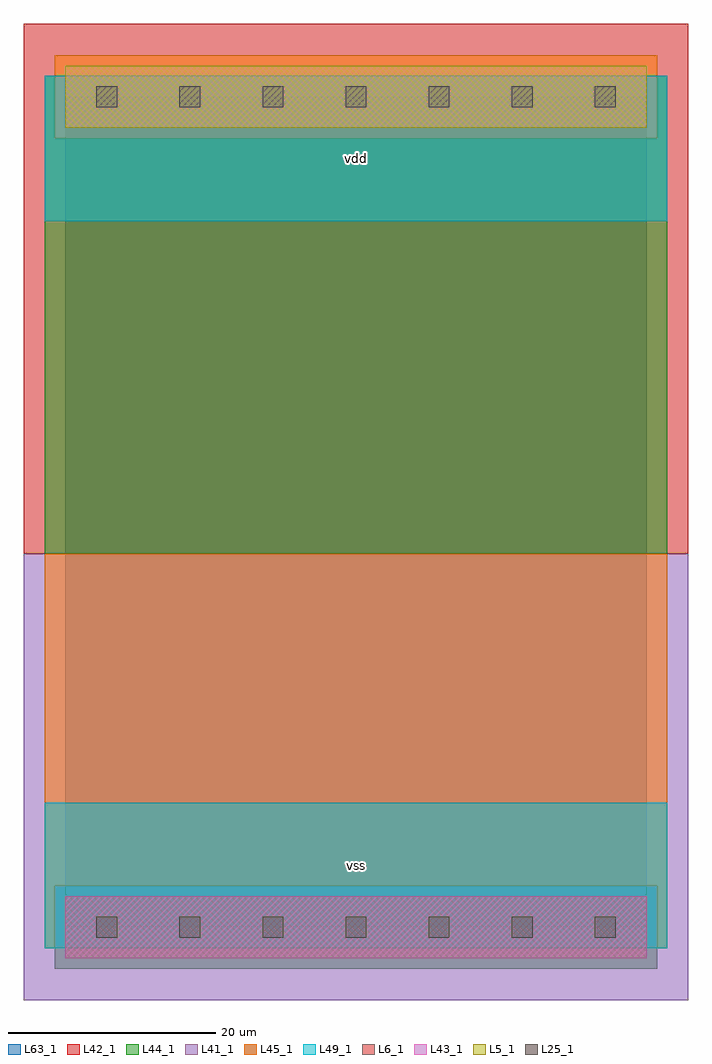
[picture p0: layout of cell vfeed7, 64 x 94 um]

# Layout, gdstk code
import gdstk
lib = gdstk.Library(unit=1e-6, precision=1e-09)
def R(c, l, rs):  # rectangles x0, y0, x1, y1
    for r in rs: c.add(gdstk.rectangle(r[:2], r[2:], *l))
def A(c, l, x, y, w, h, nx, ny, dx, dy):  # array of equal rectangles
    R(c, l, [(x+i*dx, y+j*dy, x+i*dx+w, y+j*dy+h) for i in range(nx) for j in range(ny)])
L5_1 = (5, 1)
L6_1 = (6, 1)
L25_1 = (25, 1)
L41_1 = (41, 1)
L42_1 = (42, 1)
L43_1 = (43, 1)
L44_1 = (44, 1)
L45_1 = (45, 1)
L49_1 = (49, 1)
L63_1 = (63, 1)

vfeed7 = lib.new_cell('vfeed7')
R(vfeed7, L5_1, [(0,77,56,83)])
R(vfeed7, L6_1, [(0,-3,56,3), (0,-3,56,3)])
A(vfeed7, L25_1, 3, -1, 2, 2, 7, 2, 8, 80)
R(vfeed7, L41_1, [(-4,-7,60,36)])
R(vfeed7, L42_1, [(-4,36,60,87)])
R(vfeed7, L43_1, [(0,-3,56,3), (0,77,56,83)])
R(vfeed7, L44_1, [(-1,-4,57,4), (-2,36,58,76), (-2,76,-1,82), (57,76,58,82)])
R(vfeed7, L45_1, [(-2,-2,-1,4), (57,-2,58,4), (-2,4,58,36), (-1,76,57,84)])
R(vfeed7, L49_1, [(-2,-2,58,12), (-2,68,58,82)])
R(vfeed7, L63_1, [(0,0,56,80)])
vfeed7.add(gdstk.Label('vss', (28,6), layer=49, texttype=1))
vfeed7.add(gdstk.Label('vdd', (28,74), layer=49, texttype=1))

lib.write_gds('vfeed7.gds')
